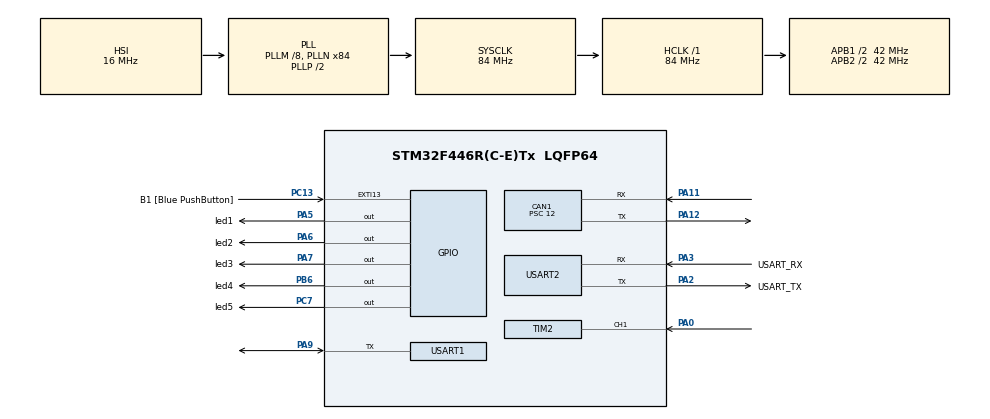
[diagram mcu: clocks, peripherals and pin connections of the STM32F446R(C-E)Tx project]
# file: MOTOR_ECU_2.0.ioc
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CAN1.ABOM=ENABLE
CAN1.BS1=CAN_BS1_11TQ
CAN1.BS2=CAN_BS2_2TQ
CAN1.CalculateBaudRate=250000
CAN1.CalculateTimeBit=4000
CAN1.CalculateTimeQuantum=285.7142857142857
CAN1.Prescaler=12
Dma.Request0=USART2_TX
Dma.USART2_TX.0.Direction=DMA_MEMORY_TO_PERIPH
Dma.USART2_TX.0.FIFOMode=DMA_FIFOMODE_DISABLE
Dma.USART2_TX.0.Instance=DMA1_Stream6
Dma.USART2_TX.0.MemDataAlignment=DMA_MDATAALIGN_BYTE
Dma.USART2_TX.0.MemInc=DMA_MINC_ENABLE
Dma.USART2_TX.0.Mode=DMA_NORMAL
Dma.USART2_TX.0.PeriphDataAlignment=DMA_PDATAALIGN_BYTE
Dma.USART2_TX.0.PeriphInc=DMA_PINC_DISABLE
Dma.USART2_TX.0.Priority=DMA_PRIORITY_LOW
Mcu.Family=STM32F4
Mcu.Name=STM32F446R(C-E)Tx
Mcu.Package=LQFP64
NVIC.CAN1_RX0_IRQn=true\:0\:0\:false\:false\:true\:true\:true\:true
NVIC.CAN1_SCE_IRQn=true\:0\:0\:false\:false\:true\:true\:true\:true
NVIC.DMA1_Stream6_IRQn=true\:0\:0\:false\:false\:true\:false\:true\:true
NVIC.PriorityGroup=NVIC_PRIORITYGROUP_0
NVIC.TIM2_IRQn=true\:0\:0\:false\:false\:true\:true\:true\:true
NVIC.USART1_IRQn=true\:0\:0\:false\:false\:true\:true\:true\:true
NVIC.USART2_IRQn=true\:0\:0\:false\:false\:true\:true\:true\:true
PA0-WKUP.Signal=S_TIM2_CH1_ETR
PA11.Mode=CAN_Activate
PA11.Signal=CAN1_RX
PA12.Mode=CAN_Activate
PA12.Signal=CAN1_TX
PA13.GPIO_Label=TMS
PA13.Mode=Serial_Wire
PA13.Signal=SYS_JTMS-SWDIO
PA14.GPIO_Label=TCK
PA14.Mode=Serial_Wire
PA14.Signal=SYS_JTCK-SWCLK
PA2.GPIO_Label=USART_TX
PA2.Mode=Asynchronous
PA2.Signal=USART2_TX
PA3.GPIO_Label=USART_RX
PA3.Mode=Asynchronous
PA3.Signal=USART2_RX
PA5.GPIO_Label=led1
PA5.Signal=GPIO_Output
PA6.GPIO_Label=led2
PA6.Signal=GPIO_Output
PA7.GPIO_Label=led3
PA7.Signal=GPIO_Output
PA9.Mode=Half_duplex(single_wire_mode)
PA9.Signal=USART1_TX
PB3.GPIO_Label=SWO
PB3.Signal=SYS_JTDO-SWO
PB6.GPIO_Label=led4
PB6.Signal=GPIO_Output
PC13.GPIO_Label=B1 [Blue PushButton]
PC13.GPIO_ModeDefaultEXTI=GPIO_MODE_IT_FALLING
PC13.Signal=GPXTI13
PC14-OSC32_IN.Mode=LSE-External-Oscillator
PC14-OSC32_IN.Signal=RCC_OSC32_IN
PC15-OSC32_OUT.Mode=LSE-External-Oscillator
PC15-OSC32_OUT.Signal=RCC_OSC32_OUT
PC7.GPIO_Label=led5
PC7.Signal=GPIO_Output
PH0-OSC_IN.Mode=HSE-External-Oscillator
PH0-OSC_IN.Signal=RCC_OSC_IN
PH1-OSC_OUT.Mode=HSE-External-Oscillator
PH1-OSC_OUT.Signal=RCC_OSC_OUT
ProjectManager.HeapSize=0x200
ProjectManager.StackSize=0x400
ProjectManager.TargetToolchain=STM32CubeIDE
RCC.48MHZClocksFreq_Value=84000000
RCC.AHBFreq_Value=84000000
RCC.APB1CLKDivider=RCC_HCLK_DIV2
RCC.APB1Freq_Value=42000000
RCC.APB1TimFreq_Value=84000000
RCC.APB2CLKDivider=RCC_HCLK_DIV2
RCC.APB2Freq_Value=42000000
RCC.APB2TimFreq_Value=84000000
RCC.CortexFreq_Value=84000000
RCC.FLatency-AdvancedSettings=FLASH_LATENCY_2
RCC.HCLKFreq_Value=84000000
RCC.HSE_VALUE=8000000
RCC.HSI_VALUE=16000000
RCC.PLLM=8
RCC.PLLN=84
RCC.SYSCLKFreq_VALUE=84000000
RCC.SYSCLKSource=RCC_SYSCLKSOURCE_PLLCLK
RCC.USBFreq_Value=84000000
RCC.VCOOutputFreq_Value=168000000
SH.S_TIM2_CH1_ETR.0=TIM2_CH1,Input_Capture1_from_TI1
TIM2.Channel-Input_Capture1_from_TI1=TIM_CHANNEL_1
TIM2.Period=4294967295-1
TIM2.Prescaler=0
USART1.VirtualMode=VM_ASYNC
USART2.VirtualMode=VM_ASYNC
board=NUCLEO-F446RE

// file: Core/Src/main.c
/* USER CODE BEGIN Header */
/**
  ******************************************************************************
  * @file           : main.c
  * @brief          : Main program body
  ******************************************************************************
  * @attention
  *
  * Copyright (c) 2024 STMicroelectronics.
  * All rights reserved.
  *
  * This software is licensed under terms that can be found in the LICENSE file
  * in the root directory of this software component.
  * If no LICENSE file comes with this software, it is provided AS-IS.
  *
  ******************************************************************************
  */
/* USER CODE END Header */
#include "main.h"

CAN_HandleTypeDef hcan1;

TIM_HandleTypeDef htim2;

UART_HandleTypeDef huart1;
UART_HandleTypeDef huart2;
DMA_HandleTypeDef hdma_usart2_tx;

/* USER CODE BEGIN PV */
uint32_t input_captures[2] = {0,0};
uint8_t is_capture_done = 0;
uint8_t count = 1;
uint32_t capture_difference = 0;
double timer2_cnt_freq=0;
double timer2_cnt_res = 0;
double user_signal_time_period = 0;
uint32_t user_signal_freq =0;
uint32_t rpm=0;
uint32_t last = 0;
char user_msg[100];
uint8_t txData[8];
uint8_t rxData[8];
uint32_t mailbox1;
CAN_TxHeaderTypeDef txh;
CAN_RxHeaderTypeDef rxh;
extern float Temp[MAXDEVICES_ON_THE_BUS];
/* USER CODE END PV */

void SystemClock_Config(void);
static void MX_GPIO_Init(void);
static void MX_DMA_Init(void);
static void MX_USART2_UART_Init(void);
static void MX_CAN1_Init(void);
static void MX_TIM2_Init(void);
static void MX_USART1_UART_Init(void);
/* USER CODE BEGIN PFP */
void filter_config(void);
void HAL_TIM_IC_CaptureCallback(TIM_HandleTypeDef *htim);
void can_tx(void);
void HAL_CAN_RxFifo0MsgPendingCallback(CAN_HandleTypeDef *hcan);
void led_indicate(uint8_t no);
/* USER CODE END PFP */

int main(void)
{

  /* MCU Configuration--------------------------------------------------------*/

  /* Reset of all peripherals, Initializes the Flash interface and the Systick. */
  HAL_Init();

  /* Configure the system clock */
  SystemClock_Config();

  /* Initialize all configured peripherals */
  MX_GPIO_Init();
  MX_DMA_Init();
  MX_USART2_UART_Init();
  MX_CAN1_Init();
  MX_TIM2_Init();
  MX_USART1_UART_Init();
  /* USER CODE BEGIN 2 */
  filter_config();
  HAL_CAN_ActivateNotification(&hcan1, CAN_IT_BUSOFF | CAN_IT_RX_FIFO0_MSG_PENDING);

  if(HAL_CAN_Start(&hcan1) != HAL_OK){
	  Error_Handler();
  }
  if(HAL_TIM_IC_Start_IT(&htim2, TIM_CHANNEL_1) != HAL_OK){
  	  Error_Handler();
    }
  get_ROMid();
  txData[0] = 0;
  txData[1] = 0;
  timer2_cnt_freq = (HAL_RCC_GetPCLK1Freq()*2)/ (htim2.Init.Prescaler+1);
  timer2_cnt_res = 1/ timer2_cnt_freq;
  /* USER CODE END 2 */

  /* Infinite loop */
  while (1)
  {

    /* USER CODE BEGIN 3 */
	  get_Temperature();
	  if(is_capture_done == 1){
	  			 if(input_captures[1] > input_captures[0]){
	  			  	capture_difference = input_captures[1] - input_captures[0];
	  			 }else{
	  			  	 capture_difference = (0XFFFF - input_captures[0]) + input_captures[1];
	  			 }
	  			 user_signal_time_period = capture_difference * timer2_cnt_res;
	  			 user_signal_freq = 1/user_signal_time_period;
//	  		//    	  			  	  	  user_signal_freq /=1000;
	  			rpm = user_signal_freq * 60;

//
	  			 is_capture_done =0;
	  }

//	  sprintf(user_msg , "RPM:%d\nTEMP:%d\n" , (uint16_t)rpm , (uint8_t)(Temp[0]));
//	  HAL_UART_Transmit_DMA(&huart2, (uint8_t *)user_msg, strlen(user_msg));

//		  txData[1] = user_signal_freq;
//		  HAL_Delay(500);
  }
  /* USER CODE END 3 */
}

void SystemClock_Config(void)
{
  RCC_OscInitTypeDef RCC_OscInitStruct = {0};
  RCC_ClkInitTypeDef RCC_ClkInitStruct = {0};

  /** Configure the main internal regulator output voltage
  */
  __HAL_RCC_PWR_CLK_ENABLE();
  __HAL_PWR_VOLTAGESCALING_CONFIG(PWR_REGULATOR_VOLTAGE_SCALE3);

  /** Initializes the RCC Oscillators according to the specified parameters
  * in the RCC_OscInitTypeDef structure.
  */
  RCC_OscInitStruct.OscillatorType = RCC_OSCILLATORTYPE_HSI;
  RCC_OscInitStruct.HSIState = RCC_HSI_ON;
  RCC_OscInitStruct.HSICalibrationValue = RCC_HSICALIBRATION_DEFAULT;
  RCC_OscInitStruct.PLL.PLLState = RCC_PLL_ON;
  RCC_OscInitStruct.PLL.PLLSource = RCC_PLLSOURCE_HSI;
  RCC_OscInitStruct.PLL.PLLM = 8;
  RCC_OscInitStruct.PLL.PLLN = 84;
  RCC_OscInitStruct.PLL.PLLP = RCC_PLLP_DIV2;
  RCC_OscInitStruct.PLL.PLLQ = 2;
  RCC_OscInitStruct.PLL.PLLR = 2;
  if (HAL_RCC_OscConfig(&RCC_OscInitStruct) != HAL_OK)
  {
    Error_Handler();
  }

  /** Initializes the CPU, AHB and APB buses clocks
  */
  RCC_ClkInitStruct.ClockType = RCC_CLOCKTYPE_HCLK|RCC_CLOCKTYPE_SYSCLK
                              |RCC_CLOCKTYPE_PCLK1|RCC_CLOCKTYPE_PCLK2;
  RCC_ClkInitStruct.SYSCLKSource = RCC_SYSCLKSOURCE_PLLCLK;
  RCC_ClkInitStruct.AHBCLKDivider = RCC_SYSCLK_DIV1;
  RCC_ClkInitStruct.APB1CLKDivider = RCC_HCLK_DIV2;
  RCC_ClkInitStruct.APB2CLKDivider = RCC_HCLK_DIV2;

  if (HAL_RCC_ClockConfig(&RCC_ClkInitStruct, FLASH_LATENCY_2) != HAL_OK)
  {
    Error_Handler();
  }
}

static void MX_CAN1_Init(void)
{

  hcan1.Instance = CAN1;
  hcan1.Init.Prescaler = 12;
  hcan1.Init.Mode = CAN_MODE_NORMAL;
  hcan1.Init.SyncJumpWidth = CAN_SJW_1TQ;
  hcan1.Init.TimeSeg1 = CAN_BS1_11TQ;
  hcan1.Init.TimeSeg2 = CAN_BS2_2TQ;
  hcan1.Init.TimeTriggeredMode = DISABLE;
  hcan1.Init.AutoBusOff = ENABLE;
  hcan1.Init.AutoWakeUp = DISABLE;
  hcan1.Init.AutoRetransmission = DISABLE;
  hcan1.Init.ReceiveFifoLocked = DISABLE;
  hcan1.Init.TransmitFifoPriority = DISABLE;
  if (HAL_CAN_Init(&hcan1) != HAL_OK)
  {
    Error_Handler();
  }

}

static void MX_TIM2_Init(void)
{

  TIM_MasterConfigTypeDef sMasterConfig = {0};
  TIM_IC_InitTypeDef sConfigIC = {0};

  htim2.Instance = TIM2;
  htim2.Init.Prescaler = 83;
  htim2.Init.CounterMode = TIM_COUNTERMODE_UP;
  htim2.Init.Period = 4294967295-1;
  htim2.Init.ClockDivision = TIM_CLOCKDIVISION_DIV1;
  htim2.Init.AutoReloadPreload = TIM_AUTORELOAD_PRELOAD_DISABLE;
  if (HAL_TIM_IC_Init(&htim2) != HAL_OK)
  {
    Error_Handler();
  }
  sMasterConfig.MasterOutputTrigger = TIM_TRGO_RESET;
  sMasterConfig.MasterSlaveMode = TIM_MASTERSLAVEMODE_DISABLE;
  if (HAL_TIMEx_MasterConfigSynchronization(&htim2, &sMasterConfig) != HAL_OK)
  {
    Error_Handler();
  }
  sConfigIC.ICPolarity = TIM_INPUTCHANNELPOLARITY_RISING;
  sConfigIC.ICSelection = TIM_ICSELECTION_DIRECTTI;
  sConfigIC.ICPrescaler = TIM_ICPSC_DIV1;
  sConfigIC.ICFilter = 0;
  if (HAL_TIM_IC_ConfigChannel(&htim2, &sConfigIC, TIM_CHANNEL_1) != HAL_OK)
  {
    Error_Handler();
  }

}

static void MX_USART1_UART_Init(void)
{

  huart1.Instance = USART1;
  huart1.Init.BaudRate = 115200;
  huart1.Init.WordLength = UART_WORDLENGTH_8B;
  huart1.Init.StopBits = UART_STOPBITS_1;
  huart1.Init.Parity = UART_PARITY_NONE;
  huart1.Init.Mode = UART_MODE_TX_RX;
  huart1.Init.HwFlowCtl = UART_HWCONTROL_NONE;
  huart1.Init.OverSampling = UART_OVERSAMPLING_16;
  if (HAL_HalfDuplex_Init(&huart1) != HAL_OK)
  {
    Error_Handler();
  }

}

static void MX_USART2_UART_Init(void)
{

  huart2.Instance = USART2;
  huart2.Init.BaudRate = 115200;
  huart2.Init.WordLength = UART_WORDLENGTH_8B;
  huart2.Init.StopBits = UART_STOPBITS_1;
  huart2.Init.Parity = UART_PARITY_NONE;
  huart2.Init.Mode = UART_MODE_TX_RX;
  huart2.Init.HwFlowCtl = UART_HWCONTROL_NONE;
  huart2.Init.OverSampling = UART_OVERSAMPLING_16;
  if (HAL_UART_Init(&huart2) != HAL_OK)
  {
    Error_Handler();
  }

}

static void MX_DMA_Init(void)
{

  /* DMA controller clock enable */
  __HAL_RCC_DMA1_CLK_ENABLE();

  /* DMA interrupt init */
  /* DMA1_Stream6_IRQn interrupt configuration */
  HAL_NVIC_SetPriority(DMA1_Stream6_IRQn, 0, 0);
  HAL_NVIC_EnableIRQ(DMA1_Stream6_IRQn);

}

static void MX_GPIO_Init(void)
{
  GPIO_InitTypeDef GPIO_InitStruct = {0};

  /* GPIO Ports Clock Enable */
  __HAL_RCC_GPIOC_CLK_ENABLE();
  __HAL_RCC_GPIOH_CLK_ENABLE();
  __HAL_RCC_GPIOA_CLK_ENABLE();
  __HAL_RCC_GPIOB_CLK_ENABLE();

  /*Configure GPIO pin Output Level */
  HAL_GPIO_WritePin(GPIOA, led1_Pin|led2_Pin|led3_Pin, GPIO_PIN_RESET);

  /*Configure GPIO pin Output Level */
  HAL_GPIO_WritePin(led5_GPIO_Port, led5_Pin, GPIO_PIN_RESET);

  /*Configure GPIO pin Output Level */
  HAL_GPIO_WritePin(led4_GPIO_Port, led4_Pin, GPIO_PIN_RESET);

  /*Configure GPIO pin : B1_Pin */
  GPIO_InitStruct.Pin = B1_Pin;
  GPIO_InitStruct.Mode = GPIO_MODE_IT_FALLING;
  GPIO_InitStruct.Pull = GPIO_NOPULL;
  HAL_GPIO_Init(B1_GPIO_Port, &GPIO_InitStruct);

  /*Configure GPIO pins : led1_Pin led2_Pin led3_Pin */
  GPIO_InitStruct.Pin = led1_Pin|led2_Pin|led3_Pin;
  GPIO_InitStruct.Mode = GPIO_MODE_OUTPUT_PP;
  GPIO_InitStruct.Pull = GPIO_NOPULL;
  GPIO_InitStruct.Speed = GPIO_SPEED_FREQ_LOW;
  HAL_GPIO_Init(GPIOA, &GPIO_InitStruct);

  /*Configure GPIO pin : led5_Pin */
  GPIO_InitStruct.Pin = led5_Pin;
  GPIO_InitStruct.Mode = GPIO_MODE_OUTPUT_PP;
  GPIO_InitStruct.Pull = GPIO_NOPULL;
  GPIO_InitStruct.Speed = GPIO_SPEED_FREQ_LOW;
  HAL_GPIO_Init(led5_GPIO_Port, &GPIO_InitStruct);

  /*Configure GPIO pin : led4_Pin */
  GPIO_InitStruct.Pin = led4_Pin;
  GPIO_InitStruct.Mode = GPIO_MODE_OUTPUT_PP;
  GPIO_InitStruct.Pull = GPIO_NOPULL;
  GPIO_InitStruct.Speed = GPIO_SPEED_FREQ_LOW;
  HAL_GPIO_Init(led4_GPIO_Port, &GPIO_InitStruct);

}

/* USER CODE BEGIN 4 */
void filter_config(void){
	CAN_FilterTypeDef fil1;
	fil1.FilterActivation = ENABLE;
	fil1.FilterBank = 0;
	fil1.FilterFIFOAssignment = CAN_RX_FIFO0;
	fil1.FilterIdHigh = 0x0000;
	fil1.FilterIdLow = 0x0000;
	fil1.FilterMaskIdHigh = 0x0000;
	fil1.FilterMaskIdLow = 0x0000;
	fil1.FilterMode = CAN_FILTERMODE_IDMASK;
	fil1.FilterScale = CAN_FILTERSCALE_32BIT;

	if(HAL_CAN_ConfigFilter(&hcan1,&fil1) != HAL_OK){
		Error_Handler();
	}
}

void HAL_TIM_IC_CaptureCallback(TIM_HandleTypeDef *htim){

	uint32_t curr = __HAL_TIM_GET_COMPARE(htim , TIM_CHANNEL_1);

	if(curr - last > 1000 || last == 0){
		if(is_capture_done == 0){
				 if(count==1){
						 input_captures[0] = curr;
						 count++;
					 }else if(count == 2){
						 input_captures[1] = curr;
						 count=1;
						 is_capture_done = 1;
					 }

			}
		last = curr;
	}

}

void can_tx(void){
	txh.DLC = 8;
	txh.IDE = CAN_ID_EXT;
	txh.RTR = CAN_RTR_DATA;
	txh.ExtId = 0xDCBA;
	get_Temperature();
	txData[0] = Temp[0];
	txData[1] = user_signal_freq;
	if(HAL_CAN_AddTxMessage(&hcan1,&txh, txData, &mailbox1) != HAL_OK){
		Error_Handler();
	}else{
		led_indicate(1);
	}
}
void HAL_CAN_RxFifo0MsgPendingCallback(CAN_HandleTypeDef *hcan){

	if(HAL_CAN_GetRxMessage(hcan,CAN_RX_FIFO0, &rxh, rxData) != HAL_OK){
		Error_Handler();
	}

	if(rxh.ExtId == 0xABCD && rxh.RTR == CAN_RTR_DATA){
		can_tx();
	}

}
void led_indicate(uint8_t no){
	switch(no){
	case 1:
		HAL_GPIO_TogglePin(led1_GPIO_Port, led1_Pin);
		HAL_Delay(500);					//on board led
		HAL_GPIO_TogglePin(led1_GPIO_Port, led1_Pin);
		break;
	case 2:
		HAL_GPIO_TogglePin(led2_GPIO_Port, led2_Pin);
		HAL_Delay(500);		// A0 led
		HAL_GPIO_TogglePin(led2_GPIO_Port, led2_Pin);
		break;
	case 3:
		HAL_GPIO_TogglePin(led3_GPIO_Port, led3_Pin);
		HAL_Delay(500);			// A1 led
		HAL_GPIO_TogglePin(led3_GPIO_Port, led3_Pin);
		break;
	case 4:
		HAL_GPIO_TogglePin(led4_GPIO_Port, led4_Pin);
		HAL_Delay(500);			// A2 led
		HAL_GPIO_TogglePin(led4_GPIO_Port, led4_Pin);
		break;
	case 5:
		HAL_GPIO_TogglePin(led5_GPIO_Port, led5_Pin);
		HAL_Delay(500);			// A2 led
		HAL_GPIO_TogglePin(led5_GPIO_Port, led5_Pin);
		break;
	}

}
/* USER CODE END 4 */

void Error_Handler(void)
{
  __disable_irq();
  while (1)
  {
  }
}
